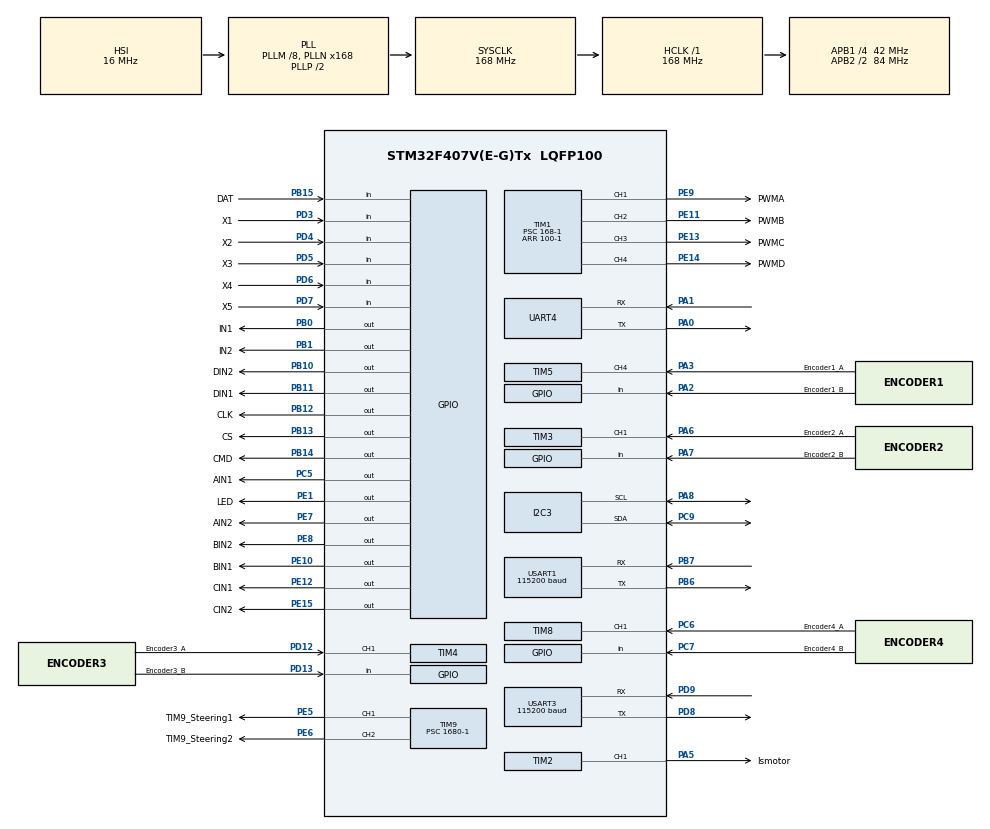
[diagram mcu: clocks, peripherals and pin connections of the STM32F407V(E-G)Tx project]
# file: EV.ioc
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Dma.I2C3_TX.4.Direction=DMA_MEMORY_TO_PERIPH
Dma.I2C3_TX.4.FIFOMode=DMA_FIFOMODE_DISABLE
Dma.I2C3_TX.4.Instance=DMA1_Stream4
Dma.I2C3_TX.4.MemDataAlignment=DMA_MDATAALIGN_BYTE
Dma.I2C3_TX.4.MemInc=DMA_MINC_ENABLE
Dma.I2C3_TX.4.Mode=DMA_NORMAL
Dma.I2C3_TX.4.PeriphDataAlignment=DMA_PDATAALIGN_BYTE
Dma.I2C3_TX.4.PeriphInc=DMA_PINC_DISABLE
Dma.I2C3_TX.4.Priority=DMA_PRIORITY_LOW
Dma.Request0=USART1_RX
Dma.Request1=USART1_TX
Dma.Request2=USART3_RX
Dma.Request3=USART3_TX
Dma.Request4=I2C3_TX
Dma.Request5=UART4_RX
Dma.UART4_RX.5.Direction=DMA_PERIPH_TO_MEMORY
Dma.UART4_RX.5.FIFOMode=DMA_FIFOMODE_DISABLE
Dma.UART4_RX.5.Instance=DMA1_Stream2
Dma.UART4_RX.5.MemDataAlignment=DMA_MDATAALIGN_BYTE
Dma.UART4_RX.5.MemInc=DMA_MINC_ENABLE
Dma.UART4_RX.5.Mode=DMA_CIRCULAR
Dma.UART4_RX.5.PeriphDataAlignment=DMA_PDATAALIGN_BYTE
Dma.UART4_RX.5.PeriphInc=DMA_PINC_DISABLE
Dma.UART4_RX.5.Priority=DMA_PRIORITY_LOW
Dma.USART1_RX.0.Direction=DMA_PERIPH_TO_MEMORY
Dma.USART1_RX.0.FIFOMode=DMA_FIFOMODE_DISABLE
Dma.USART1_RX.0.Instance=DMA2_Stream2
Dma.USART1_RX.0.MemDataAlignment=DMA_MDATAALIGN_BYTE
Dma.USART1_RX.0.MemInc=DMA_MINC_ENABLE
Dma.USART1_RX.0.Mode=DMA_CIRCULAR
Dma.USART1_RX.0.PeriphDataAlignment=DMA_PDATAALIGN_BYTE
Dma.USART1_RX.0.PeriphInc=DMA_PINC_DISABLE
Dma.USART1_RX.0.Priority=DMA_PRIORITY_LOW
Dma.USART1_TX.1.Direction=DMA_MEMORY_TO_PERIPH
Dma.USART1_TX.1.FIFOMode=DMA_FIFOMODE_DISABLE
Dma.USART1_TX.1.Instance=DMA2_Stream7
Dma.USART1_TX.1.MemDataAlignment=DMA_MDATAALIGN_BYTE
Dma.USART1_TX.1.MemInc=DMA_MINC_ENABLE
Dma.USART1_TX.1.Mode=DMA_NORMAL
Dma.USART1_TX.1.PeriphDataAlignment=DMA_PDATAALIGN_BYTE
Dma.USART1_TX.1.PeriphInc=DMA_PINC_DISABLE
Dma.USART1_TX.1.Priority=DMA_PRIORITY_LOW
Dma.USART3_RX.2.Direction=DMA_PERIPH_TO_MEMORY
Dma.USART3_RX.2.FIFOMode=DMA_FIFOMODE_DISABLE
Dma.USART3_RX.2.Instance=DMA1_Stream1
Dma.USART3_RX.2.MemDataAlignment=DMA_MDATAALIGN_BYTE
Dma.USART3_RX.2.MemInc=DMA_MINC_ENABLE
Dma.USART3_RX.2.Mode=DMA_NORMAL
Dma.USART3_RX.2.PeriphDataAlignment=DMA_PDATAALIGN_BYTE
Dma.USART3_RX.2.PeriphInc=DMA_PINC_DISABLE
Dma.USART3_RX.2.Priority=DMA_PRIORITY_LOW
Dma.USART3_TX.3.Direction=DMA_MEMORY_TO_PERIPH
Dma.USART3_TX.3.FIFOMode=DMA_FIFOMODE_DISABLE
Dma.USART3_TX.3.Instance=DMA1_Stream3
Dma.USART3_TX.3.MemDataAlignment=DMA_MDATAALIGN_BYTE
Dma.USART3_TX.3.MemInc=DMA_MINC_ENABLE
Dma.USART3_TX.3.Mode=DMA_NORMAL
Dma.USART3_TX.3.PeriphDataAlignment=DMA_PDATAALIGN_BYTE
Dma.USART3_TX.3.PeriphInc=DMA_PINC_DISABLE
Dma.USART3_TX.3.Priority=DMA_PRIORITY_LOW
IWDG.Prescaler=IWDG_PRESCALER_32
IWDG.Reload=1000
Mcu.Family=STM32F4
Mcu.Name=STM32F407V(E-G)Tx
Mcu.Package=LQFP100
NVIC.DMA1_Stream1_IRQn=true\:0\:0\:false\:false\:true\:false\:true\:true
NVIC.DMA1_Stream2_IRQn=true\:0\:0\:false\:false\:true\:false\:true\:true
NVIC.DMA1_Stream3_IRQn=true\:0\:0\:false\:false\:true\:false\:true\:true
NVIC.DMA1_Stream4_IRQn=true\:0\:0\:false\:false\:true\:false\:true\:true
NVIC.DMA2_Stream2_IRQn=true\:0\:0\:false\:false\:true\:false\:true\:true
NVIC.DMA2_Stream7_IRQn=true\:0\:0\:false\:false\:true\:false\:true\:true
NVIC.I2C3_ER_IRQn=true\:5\:0\:true\:false\:true\:true\:true\:true
NVIC.I2C3_EV_IRQn=true\:5\:0\:true\:false\:true\:true\:true\:true
NVIC.PriorityGroup=NVIC_PRIORITYGROUP_4
NVIC.TIM3_IRQn=true\:2\:0\:true\:false\:true\:true\:true\:true
NVIC.TIM4_IRQn=true\:2\:0\:true\:false\:true\:true\:true\:true
NVIC.TIM5_IRQn=true\:2\:0\:true\:false\:true\:true\:true\:true
NVIC.TIM8_BRK_TIM12_IRQn=true\:0\:0\:false\:false\:true\:true\:true\:true
NVIC.TIM8_CC_IRQn=true\:2\:0\:true\:false\:true\:true\:true\:true
NVIC.TIM8_UP_TIM13_IRQn=true\:2\:0\:true\:false\:true\:true\:true\:true
NVIC.UART4_IRQn=true\:0\:0\:false\:false\:true\:true\:true\:true
NVIC.USART1_IRQn=true\:1\:0\:true\:false\:true\:true\:true\:true
NVIC.USART3_IRQn=true\:1\:0\:true\:false\:true\:true\:true\:true
PA0-WKUP.Mode=Asynchronous
PA0-WKUP.Signal=UART4_TX
PA1.Mode=Asynchronous
PA1.Signal=UART4_RX
PA13.Mode=Serial_Wire
PA13.Signal=SYS_JTMS-SWDIO
PA14.Mode=Serial_Wire
PA14.Signal=SYS_JTCK-SWCLK
PA2.GPIO_Label=Encoder1_B
PA2.GPIO_PuPd=GPIO_PULLUP
PA2.Signal=GPIO_Input
PA3.GPIO_Label=Encoder1_A
PA3.Signal=S_TIM5_CH4
PA5.GPIO_Label=lsmotor
PA5.Signal=S_TIM2_CH1_ETR
PA6.GPIO_Label=Encoder2_A
PA6.Signal=S_TIM3_CH1
PA7.GPIO_Label=Encoder2_B
PA7.GPIO_PuPd=GPIO_PULLUP
PA7.Signal=GPIO_Input
PA8.Mode=I2C
PA8.Signal=I2C3_SCL
PB0.GPIO_Label=IN1
PB0.Signal=GPIO_Output
PB1.GPIO_Label=IN2
PB1.Signal=GPIO_Output
PB10.GPIO_Label=DIN2
PB10.Signal=GPIO_Output
PB11.GPIO_Label=DIN1
PB11.PinState=GPIO_PIN_RESET
PB11.Signal=GPIO_Output
PB12.GPIO_Label=CLK
PB12.PinState=GPIO_PIN_SET
PB12.Signal=GPIO_Output
PB13.GPIO_Label=CS
PB13.PinState=GPIO_PIN_SET
PB13.Signal=GPIO_Output
PB14.GPIO_Label=CMD
PB14.PinState=GPIO_PIN_SET
PB14.Signal=GPIO_Output
PB15.GPIO_Label=DAT
PB15.GPIO_PuPd=GPIO_PULLUP
PB15.Signal=GPIO_Input
PB6.Mode=Asynchronous
PB6.Signal=USART1_TX
PB7.Mode=Asynchronous
PB7.Signal=USART1_RX
PC5.GPIO_Label=AIN1
PC5.Signal=GPIO_Output
PC6.GPIO_Label=Encoder4_A
PC6.Signal=S_TIM8_CH1
PC7.GPIO_Label=Encoder4_B
PC7.GPIO_PuPd=GPIO_PULLUP
PC7.Signal=GPIO_Input
PC9.Mode=I2C
PC9.Signal=I2C3_SDA
PD12.GPIO_Label=Encoder3_A
PD12.Signal=S_TIM4_CH1
PD13.GPIO_Label=Encoder3_B
PD13.GPIO_PuPd=GPIO_PULLUP
PD13.Signal=GPIO_Input
PD3.GPIO_Label=X1
PD3.Signal=GPIO_Input
PD4.GPIO_Label=X2
PD4.Signal=GPIO_Input
PD5.GPIO_Label=X3
PD5.Signal=GPIO_Input
PD6.GPIO_Label=X4
PD6.Signal=GPIO_Input
PD7.GPIO_Label=X5
PD7.Signal=GPIO_Input
PD8.Mode=Asynchronous
PD8.Signal=USART3_TX
PD9.Mode=Asynchronous
PD9.Signal=USART3_RX
PE1.GPIO_Label=LED
PE1.Signal=GPIO_Output
PE10.GPIO_Label=BIN1
PE10.PinState=GPIO_PIN_SET
PE10.Signal=GPIO_Output
PE11.GPIO_Label=PWMB
PE11.Signal=S_TIM1_CH2
PE12.GPIO_Label=CIN1
PE12.PinState=GPIO_PIN_SET
PE12.Signal=GPIO_Output
PE13.GPIO_Label=PWMC
PE13.Signal=S_TIM1_CH3
PE14.GPIO_Label=PWMD
PE14.Signal=S_TIM1_CH4
PE15.GPIO_Label=CIN2
PE15.Signal=GPIO_Output
PE5.GPIO_Label=TIM9_Steering1
PE5.Signal=S_TIM9_CH1
PE6.GPIO_Label=TIM9_Steering2
PE6.Signal=S_TIM9_CH2
PE7.GPIO_Label=AIN2
PE7.PinState=GPIO_PIN_SET
PE7.Signal=GPIO_Output
PE8.GPIO_Label=BIN2
PE8.PinState=GPIO_PIN_SET
PE8.Signal=GPIO_Output
PE9.GPIO_Label=PWMA
PE9.Signal=S_TIM1_CH1
PH0-OSC_IN.Mode=HSE-External-Oscillator
PH0-OSC_IN.Signal=RCC_OSC_IN
PH1-OSC_OUT.Mode=HSE-External-Oscillator
PH1-OSC_OUT.Signal=RCC_OSC_OUT
ProjectManager.HeapSize=0x200
ProjectManager.StackSize=0x200
ProjectManager.TargetToolchain=MDK-ARM V5.32
RCC.48MHZClocksFreq_Value=84000000
RCC.AHBFreq_Value=168000000
RCC.APB1CLKDivider=RCC_HCLK_DIV4
RCC.APB1Freq_Value=42000000
RCC.APB1TimFreq_Value=84000000
RCC.APB2CLKDivider=RCC_HCLK_DIV2
RCC.APB2Freq_Value=84000000
RCC.APB2TimFreq_Value=168000000
RCC.CortexFreq_Value=168000000
RCC.HCLKFreq_Value=168000000
RCC.HSE_VALUE=25000000
RCC.HSI_VALUE=16000000
RCC.LSE_VALUE=32768
RCC.PLLM=8
RCC.PLLN=168
RCC.SYSCLKFreq_VALUE=168000000
RCC.SYSCLKSource=RCC_SYSCLKSOURCE_PLLCLK
RCC.VCOOutputFreq_Value=336000000
SH.S_TIM1_CH1.0=TIM1_CH1,PWM Generation1 CH1
SH.S_TIM1_CH2.0=TIM1_CH2,PWM Generation2 CH2
SH.S_TIM1_CH3.0=TIM1_CH3,PWM Generation3 CH3
SH.S_TIM1_CH4.0=TIM1_CH4,PWM Generation4 CH4
SH.S_TIM2_CH1_ETR.0=TIM2_CH1,PWM Generation1 CH1
SH.S_TIM3_CH1.0=TIM3_CH1,Input_Capture1_from_TI1
SH.S_TIM4_CH1.0=TIM4_CH1,Input_Capture1_from_TI1
SH.S_TIM5_CH4.0=TIM5_CH4,Input_Capture4_from_TI4
SH.S_TIM8_CH1.0=TIM8_CH1,Input_Capture1_from_TI1
SH.S_TIM9_CH1.0=TIM9_CH1,PWM Generation1 CH1
SH.S_TIM9_CH2.0=TIM9_CH2,PWM Generation2 CH2
TIM1.Channel-PWM\ Generation1\ CH1=TIM_CHANNEL_1
TIM1.Channel-PWM\ Generation2\ CH2=TIM_CHANNEL_2
TIM1.Channel-PWM\ Generation3\ CH3=TIM_CHANNEL_3
TIM1.Channel-PWM\ Generation4\ CH4=TIM_CHANNEL_4
TIM1.Period=100-1
TIM1.Prescaler=168-1
TIM12.Period=100-1
TIM12.Prescaler=1680-1
TIM2.Channel-PWM\ Generation1\ CH1=TIM_CHANNEL_1
TIM2.Period=100-1
TIM2.Prescaler=168-1
TIM3.Channel-Input_Capture1_from_TI1=TIM_CHANNEL_1
TIM3.ICPolarity_CH1=TIM_INPUTCHANNELPOLARITY_BOTHEDGE
TIM3.Period=10000-1
TIM3.Prescaler=168-1
TIM4.Channel-Input_Capture1_from_TI1=TIM_CHANNEL_1
TIM4.ICFilter_CH1=15
TIM4.ICPolarity_CH1=TIM_INPUTCHANNELPOLARITY_BOTHEDGE
TIM4.Period=10000-1
TIM4.Prescaler=168-1
TIM5.Channel-Input_Capture4_from_TI4=TIM_CHANNEL_4
TIM5.ICFilter_CH4=15
TIM5.ICPolarity_CH4=TIM_INPUTCHANNELPOLARITY_BOTHEDGE
TIM5.Period=10000-1
TIM5.Prescaler=168-1
TIM8.Channel-Input_Capture1_from_TI1=TIM_CHANNEL_1
TIM8.ICFilter_CH1=15
TIM8.ICPolarity_CH1=TIM_INPUTCHANNELPOLARITY_BOTHEDGE
TIM8.Period=10000-1
TIM8.Prescaler=336-1
TIM9.Channel-PWM\ Generation1\ CH1=TIM_CHANNEL_1
TIM9.Channel-PWM\ Generation2\ CH2=TIM_CHANNEL_2
TIM9.Period=2000-1
TIM9.Prescaler=1680-1
UART4.VirtualMode=Asynchronous
USART1.BaudRate=115200
USART1.VirtualMode=VM_ASYNC
USART3.BaudRate=115200
USART3.VirtualMode=VM_ASYNC
VP_IWDG_VS_IWDG.Mode=IWDG_Activate
VP_TIM12_VS_ClockSourceINT.Mode=Internal
VP_TIM1_VS_ClockSourceINT.Mode=Internal
VP_TIM2_VS_ClockSourceINT.Mode=Internal
VP_TIM5_VS_ClockSourceINT.Mode=Internal
VP_TIM9_VS_ClockSourceINT.Mode=Internal
board=custom

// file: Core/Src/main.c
/* USER CODE BEGIN Header */
/**
  ******************************************************************************
  * @file           : main.c
  * @brief          : Main program body
  ******************************************************************************
  * @attention
  *
  * Copyright (c) 2025 STMicroelectronics.
  * All rights reserved.
  *
  * This software is licensed under terms that can be found in the LICENSE file
  * in the root directory of this software component.
  * If no LICENSE file comes with this software, it is provided AS-IS.
  *
  ******************************************************************************
  */
/* USER CODE END Header */
#include "main.h"
#include "dma.h"
#include "i2c.h"
#include "iwdg.h"
#include "tim.h"
#include "usart.h"
#include "gpio.h"

/* USER CODE BEGIN Includes */
#include "SM.h"
#include "PS2.h"
#include "Motor.h"
#include "LineTracking.h"
#include "oled.h"
#include "font.h"
#include "Controller.h"
#include "time_slice.h"
#include "stdio.h"
#include "encoder.h"
#include "imu.h"
#include "test.h"
#include "string.h"
#include "yaw_filter.h"
/* USER CODE END Includes */

/* USER CODE BEGIN PV */
time_slice PS2_time_slice;
time_slice OLED_time_slice;
time_slice UART_PS2_time_slice;
uint32_t tim12_tick = 0; // 用于10ms定时器
uint8_t imu_data[11]; // IMU数据缓冲区

uint32_t real_pwm_motor1 = 0; // 实时PWM值1
uint32_t real_pwm_motor2 = 0; // 实时PWM值2
uint32_t real_pwm_motor3 = 0; // 实时PWM值3
uint32_t real_pwm_motor4 = 0; // 实时PWM值4

char test[50] = ""; //调试串口数据缓冲区
uint8_t last_send_time = 0; // 串口上次发送时间
void HAL_UARTEx_RxEventCallback(UART_HandleTypeDef *huart, uint16_t Size);

/* USER CODE END PV */

void SystemClock_Config(void);

int main(void)
{

  /* MCU Configuration--------------------------------------------------------*/

  /* Reset of all peripherals, Initializes the Flash interface and the Systick. */
  HAL_Init();

  /* Configure the system clock */
  SystemClock_Config();

  /* Initialize all configured peripherals */
  MX_GPIO_Init();
  MX_DMA_Init();
  MX_TIM1_Init();
  MX_TIM2_Init();
  MX_TIM3_Init();
  MX_TIM4_Init();
  MX_TIM5_Init();
  MX_TIM8_Init();
  MX_USART1_UART_Init();
  MX_USART3_UART_Init();
  MX_I2C3_Init();
  MX_TIM9_Init();
  MX_TIM12_Init();
  MX_IWDG_Init();
  MX_UART4_Init();
  /* USER CODE BEGIN 2 */
  // HAL_TIM_PWM_Start(&htim1, TIM_CHANNEL_1);
	// HAL_TIM_PWM_Start(&htim1, TIM_CHANNEL_2);
	// HAL_TIM_PWM_Start(&htim1, TIM_CHANNEL_3);
	// HAL_TIM_PWM_Start(&htim1, TIM_CHANNEL_4);
  // HAL_GPIO_WritePin(AIN1_GPIO_Port, AIN1_Pin, GPIO_PIN_SET);
  // HAL_GPIO_WritePin(AIN2_GPIO_Port, AIN2_Pin, GPIO_PIN_RESET);
  // __HAL_TIM_SET_COMPARE(&htim1, TIM_CHANNEL_1, 40);
  // HAL_GPIO_WritePin(BIN1_GPIO_Port, BIN1_Pin, GPIO_PIN_SET);
  // HAL_GPIO_WritePin(BIN2_GPIO_Port, BIN2_Pin, GPIO_PIN_RESET);
  // __HAL_TIM_SET_COMPARE(&htim1, TIM_CHANNEL_2, 40);
  // HAL_GPIO_WritePin(CIN1_GPIO_Port, CIN1_Pin, GPIO_PIN_RESET);
  // HAL_GPIO_WritePin(CIN2_GPIO_Port, CIN2_Pin, GPIO_PIN_SET);
  // __HAL_TIM_SET_COMPARE(&htim1, TIM_CHANNEL_3, 40);
  HAL_GPIO_WritePin(DIN1_GPIO_Port, DIN1_Pin, GPIO_PIN_SET);
  HAL_GPIO_WritePin(DIN2_GPIO_Port, DIN2_Pin, GPIO_PIN_RESET);
  __HAL_TIM_SET_COMPARE(&htim1, TIM_CHANNEL_4, 40);
  while(1){

  }
  PS2_Init();
	MOTOR_Init();
  Robotic_Arm_Init();
  OLED_Init();
  OLED_NewFrame();
  OLED_ShowFrame();
  time_slice_Init(&PS2_time_slice, 50, PS2_collect_callback);
  time_slice_Init(&OLED_time_slice, 300, OLED_callback);
  All_Motors_Init(); // 初始化所有电机（包含PID参数初始化）
  HAL_TIM_Base_Start_IT(&htim12); //10ms做一次pid
  HAL_TIM_IC_Start_IT(&htim5, TIM_CHANNEL_4); //编码器1输入捕获
  __HAL_TIM_ENABLE_IT(&htim5, TIM_IT_UPDATE); //编码器1溢出中断
  HAL_TIM_IC_Start_IT(&htim3, TIM_CHANNEL_1); //编码器2输入捕获
  __HAL_TIM_ENABLE_IT(&htim3, TIM_IT_UPDATE); //编码器2溢出中断
  HAL_TIM_IC_Start_IT(&htim4, TIM_CHANNEL_1); //编码器3输入捕获
  __HAL_TIM_ENABLE_IT(&htim4, TIM_IT_UPDATE); //编码器3溢出中断
  HAL_TIM_IC_Start_IT(&htim8, TIM_CHANNEL_1); //编码器4输入捕获
  __HAL_TIM_ENABLE_IT(&htim8, TIM_IT_UPDATE); //编码器4溢出中断
  //这个是调pid的时候的串口接收函数
  //HAL_UARTEx_ReceiveToIdle_DMA(&huart3, (uint8_t*)rx_buf, sizeof(rx_buf)-1);
  //HAL_UART_Receive_IT(&huart1, (uint8_t*)test, 1);
  HAL_UART_Receive_DMA(&huart4, (uint8_t*)rx_buf, sizeof(rx_buf));
  HAL_UARTEx_ReceiveToIdle_DMA(&huart1, (uint8_t*)rx_buf1, sizeof(rx_buf1));
  //HAL_UART_Receive_DMA(&huart3, test, (uint8_t*)rx_buf1, sizeof(rx_buf1)-1);

  PID_Init(&wz, 0.5f, 0.01f, 0.0f, 100.0f, 100.0f); // 初始化yaw轴PID控制
  //Motor2_SetSpeed(40);
  //Motor3_SetSpeed(40);
  // Motor4_SetSpeed(40);
  /* USER CODE END 2 */

  /* Infinite loop */
  /* USER CODE BEGIN WHILE */
  while (1)
  {
    //handle_right_turn();
    //HAL_GPIO_TogglePin(LED_GPIO_Port, LED_Pin);
    //__HAL_TIM_SET_COMPARE(&htim9, TIM_CHANNEL_1, 150);
    //__HAL_TIM_SET_COMPARE(&htim9, TIM_CHANNEL_1, 100);  //具体数值待测
     //HAL_UART_Transmit(&huart3, (uint8_t *)"!", 1, 10);
     //Motor3_SetSpeed(30);
     //Motor2_SetSpeed(30);
     //Motor1_SetSpeed(30);
    // HAL_GPIO_WritePin(DIN1_GPIO_Port, DIN1_Pin, GPIO_PIN_SET);
    // HAL_GPIO_WritePin(DIN2_GPIO_Port, DIN2_Pin, GPIO_PIN_RESET);
    // __HAL_TIM_SET_COMPARE(&htim1, TIM_CHANNEL_4, 40);
   //Motor4_SetSpeed(30);
    // //Motor_Stop();
     real_pwm_motor1 = __HAL_TIM_GET_COMPARE(&htim1, TIM_CHANNEL_1);
     real_pwm_motor2 = __HAL_TIM_GET_COMPARE(&htim1, TIM_CHANNEL_2);
     real_pwm_motor3 = __HAL_TIM_GET_COMPARE(&htim1, TIM_CHANNEL_3);
     real_pwm_motor4 = __HAL_TIM_GET_COMPARE(&htim1, TIM_CHANNEL_4);
    // sprintf(test, "wz: %.2f, yaw: %.2f\n", cur_imu.wz, cur_imu.yaw);
    //sprintf(test, "pules: %d\n, interval: %.2f\n", motor1.pulse_cnt, motor1.interval);
    //sprintf(test, "E: %.2f, T: %.2f, C: %.2f\n", en_x_speed, target_vx, X.current_speed);
    //sprintf(test, "E: %.2f, T: %.2f, C: %.2f\n", en_y_speed, target_vy, Y.current_speed);
    //sprintf(test, "1: %u, 2: %u\n", claw_status, test_status);
    //sprintf(test, "%u\n", sensor_status);
    //sprintf(test, "[1]: %u, [2]: %u\n", Data[7], Data[8]);
    // sprintf(test, "X: %f, Y:%f, Z:%f\n", target_vx, target_vy, target_vz);
    //sprintf(test, "flag: %u\n", line_cnt);
    //sprintf(test, "trackflag: %d\n", trackflag);
    //sprintf(test, "kp: %.2f, ki: %.2f, kd: %.2f\n", motor4.pid.kp, motor4.pid.ki, motor4.pid.kd);
    //sprintf(test, "cur_direction: %d\n", motor4.cur_direction);
    //sprintf(test, "1: %u, 2: %u, 3: %u, 4: %u\n", real_pwm_motor1, real_pwm_motor2, real_pwm_motor3, real_pwm_motor4);
    //sprintf(test, "pules: %d\n, interval: %.2f\n", motor4.pulse_cnt, motor4.interval);
    //sprintf(test, "vx: %.2f, vy: %.2f, vz: %.2f\n", target_vx, target_vy, target_vz);
     //sprintf(test, "1: %.2f, 2: %.2f, 3: %.2f, 4: %.2f\n", motor1.pid.current_speed, motor2.pid.current_speed, motor3.pid.current_speed, motor4.pid.current_speed);
    sprintf(test, "1: %.2f, 2: %.2f, 3: %.2f, 4: %.2f\n", motor1.pid.output, motor2.pid.output, motor3.pid.output, motor4.pid.output);
    //HAL_UART_Transmit(&huart3, (uint8_t *)test, strlen(test), 100);
    HAL_UART_Transmit(&huart3, (uint8_t *)"!", 1, 10);
    // --- 1.PS2数据采集 ---
    time_slice_run(&PS2_time_slice);
    State_Run();  //状态运行

    HAL_IWDG_Refresh(&hiwdg); // 莫得问题，喂狗

    // //****调试点1.串口调试（PS2)
    //PS2_Test();

    // //--- 2.IMU数据处理
		Process_IMU_Data(&Rx_Buffer);

    // //---  3.OLED 显示 ---
		 time_slice_run(&OLED_time_slice);
    // --- 这个是调pid的时候的串口发送函数，写进时间片是为了避免dma传重复数据 ---
    if(HAL_GetTick() - last_send_time > 40){
     //这俩选一个来调
     if(test_status == 1){
      //  VOFA_Speed_Test();
       VOFA_Speed_Test1();
        //VOFA_Speed_Test2();
        //VOFA_Yaw_Test();
        //VOFA_JY62_Test();
        //VOFA_KALMAN_Test();
     }
      last_send_time = HAL_GetTick();
    }
    /* USER CODE END WHILE */

  }
}

void SystemClock_Config(void)
{
  RCC_OscInitTypeDef RCC_OscInitStruct = {0};
  RCC_ClkInitTypeDef RCC_ClkInitStruct = {0};

  /** Configure the main internal regulator output voltage
  */
  __HAL_RCC_PWR_CLK_ENABLE();
  __HAL_PWR_VOLTAGESCALING_CONFIG(PWR_REGULATOR_VOLTAGE_SCALE1);

  /** Initializes the RCC Oscillators according to the specified parameters
  * in the RCC_OscInitTypeDef structure.
  */
  RCC_OscInitStruct.OscillatorType = RCC_OSCILLATORTYPE_HSI|RCC_OSCILLATORTYPE_LSI;
  RCC_OscInitStruct.HSIState = RCC_HSI_ON;
  RCC_OscInitStruct.HSICalibrationValue = RCC_HSICALIBRATION_DEFAULT;
  RCC_OscInitStruct.LSIState = RCC_LSI_ON;
  RCC_OscInitStruct.PLL.PLLState = RCC_PLL_ON;
  RCC_OscInitStruct.PLL.PLLSource = RCC_PLLSOURCE_HSI;
  RCC_OscInitStruct.PLL.PLLM = 8;
  RCC_OscInitStruct.PLL.PLLN = 168;
  RCC_OscInitStruct.PLL.PLLP = RCC_PLLP_DIV2;
  RCC_OscInitStruct.PLL.PLLQ = 4;
  if (HAL_RCC_OscConfig(&RCC_OscInitStruct) != HAL_OK)
  {
    Error_Handler();
  }

  /** Initializes the CPU, AHB and APB buses clocks
  */
  RCC_ClkInitStruct.ClockType = RCC_CLOCKTYPE_HCLK|RCC_CLOCKTYPE_SYSCLK
                              |RCC_CLOCKTYPE_PCLK1|RCC_CLOCKTYPE_PCLK2;
  RCC_ClkInitStruct.SYSCLKSource = RCC_SYSCLKSOURCE_PLLCLK;
  RCC_ClkInitStruct.AHBCLKDivider = RCC_SYSCLK_DIV1;
  RCC_ClkInitStruct.APB1CLKDivider = RCC_HCLK_DIV4;
  RCC_ClkInitStruct.APB2CLKDivider = RCC_HCLK_DIV2;

  if (HAL_RCC_ClockConfig(&RCC_ClkInitStruct, FLASH_LATENCY_5) != HAL_OK)
  {
    Error_Handler();
  }
}

/* USER CODE BEGIN 4 */
//处理IMU数据，用串口4
void HAL_UARTEx_RxEventCallback(UART_HandleTypeDef *huart, uint16_t Size)
{
    if(huart->Instance == UART4){
      Process_IMU_Data(&Rx_Buffer);
      // IMU_Update(rx_buf);
      HAL_GPIO_TogglePin(LED_GPIO_Port, LED_Pin);
     // HAL_UART_Transmit_IT(&huart3, (uint8_t *)"!", 1);

    }
    if(huart->Instance == USART1){
      //这里是接收处理函数，两个pid选一个调
			 	HAL_GPIO_TogglePin(LED_GPIO_Port, LED_Pin);
        //HAL_UART_Transmit_DMA(&huart3, (uint8_t*)rx_buf1, sizeof(rx_buf1));
        //HAL_UART_Transmit(&huart3, (uint8_t *)"!", 1, 10);
			  Process_Bluetooth_Data(&Rx_Buffer1);
    }
}

// void HAL_UART_RxCpltCallback(UART_HandleTypeDef *huart)
// {
//   if(huart->Instance == UART4){
//     Process_IMU_Data(&Rx_Buffer);
//     // HAL_UART_Receive_IT(&huart3, (uint8_t*)test, 1);
//   }
// }

void HAL_TIM_PeriodElapsedCallback(TIM_HandleTypeDef *htim)
{
  //定时器溢出回调，用于编码器时间间隔计算
  if(htim->Instance == TIM5)
  {
    __disable_irq();
    motor1.overflow_cnt++;
    __enable_irq();
  }
  else if(htim->Instance == TIM3)
  {
    __disable_irq();
    motor2.overflow_cnt++;
    __enable_irq();
  }
  else if(htim->Instance == TIM4)
  {
    __disable_irq();
    motor3.overflow_cnt++;
    __enable_irq();
  }
  else if(htim->Instance == TIM8)
  {
    __disable_irq();
    motor4.overflow_cnt++;
    __enable_irq();
  }

  //10ms中断一次，进行PID计算
  if(htim->Instance == TIM12) //10ms中断一次，进行PID计算
  {
    tim12_tick++;
    if(tim12_tick >= 5){
      tim12_tick = 0;
      //Kalman_yaw = Kalman_Filter(encoder_yaw_speed());
      //wz_PID(&wz); //计算旋转PID输出
      //Y_PID(&Y);
      //X_PID(&X);
      Mecanum_Solver(); // 麦轮解算，计算各轮目标速度
      // Motor_Update_Control(&motor1);
      // Motor_Update_Control(&motor2);
      // Motor_Update_Control(&motor3);
      // Motor_Update_Control(&motor4);

      // position_pid.angle += PID_T * yaw_filter.w_k ;

    }
  }
}

void HAL_TIM_IC_CaptureCallback(TIM_HandleTypeDef *htim)
{

  if(htim->Instance == TIM5 && htim->Channel == HAL_TIM_ACTIVE_CHANNEL_4){
    PID_Callback1(&motor1, htim, TIM_CHANNEL_4);
  }

  if(htim->Instance == TIM3 && htim->Channel == HAL_TIM_ACTIVE_CHANNEL_1){
    PID_Callback2(&motor2, htim, TIM_CHANNEL_1);
  }

  if(htim->Instance == TIM4 && htim->Channel == HAL_TIM_ACTIVE_CHANNEL_1){
    PID_Callback3(&motor3, htim, TIM_CHANNEL_1);
  }

  if(htim->Instance == TIM8 && htim->Channel == HAL_TIM_ACTIVE_CHANNEL_1){
    PID_Callback4(&motor4, htim, TIM_CHANNEL_1);
  }
}

/* USER CODE END 4 */

void Error_Handler(void)
{
  __disable_irq();
  while (1)
  {
  }
}
